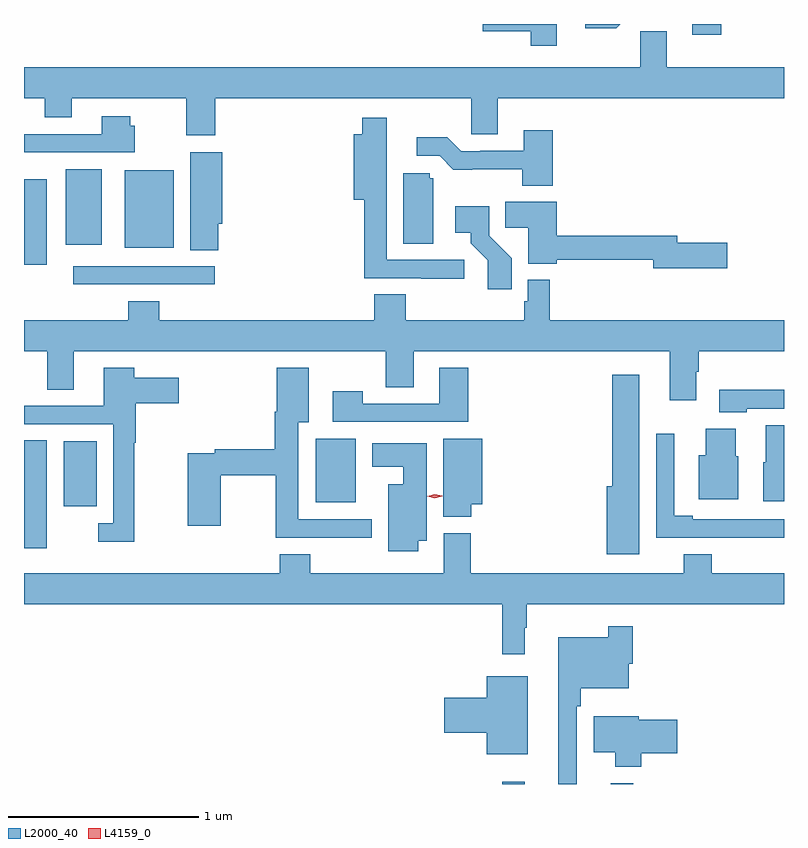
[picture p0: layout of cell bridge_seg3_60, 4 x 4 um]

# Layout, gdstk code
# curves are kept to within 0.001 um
import gdstk
lib = gdstk.Library(unit=1e-6, precision=1e-09)
def R(c, l, rs):  # rectangles x0, y0, x1, y1
    for r in rs: c.add(gdstk.rectangle(r[:2], r[2:], *l))
def P(c, l, *ps):  # polygons
    for p in ps: c.add(gdstk.Polygon(p, *l))
L2000_40 = (2000, 40)
L4159_0 = (4159, 0)

bridge_seg3_60 = lib.new_cell('bridge_seg3_60')
R(bridge_seg3_60, L2000_40, [(577.249,678.659,577.367,678.67), (577.82,678.659,577.937,678.664), (574.731,679.899,574.852,680.468), (574.94,680.12,575.113,680.464), (576.266,680.141,576.478,680.476), (574.989,681.288,575.734,681.384), (574.731,681.393,574.852,681.841), (575.261,681.482,575.518,681.889), (574.952,681.497,575.14,681.895), (578.249,682.602,578.402,682.659)])
P(bridge_seg3_60, L2000_40, [(577.534,682.659),(577.146,682.659),(577.146,682.622),(577.398,682.622),(577.398,682.544),(577.534,682.544)],
  [(577.869,682.659),(577.686,682.659),(577.686,682.637),(577.847,682.637)],
  [(575.738,682.268),(577.086,682.268),(577.086,682.078),(577.225,682.078),(577.225,682.268),(578.731,682.268),(578.731,682.432),(578.113,682.432),(578.113,682.622),(577.974,682.622),(577.974,682.432),(574.731,682.432),(574.731,682.268),(574.841,682.268),(574.841,682.169),(574.981,682.169),(574.981,682.268),(575.585,682.268),(575.585,682.074),(575.738,682.074)],
  [(575.314,682.123),(575.289,682.123),(575.289,682.174),(575.141,682.174),(575.141,682.08),(574.731,682.08),(574.731,681.984),(575.314,681.984)],
  [(577.048,681.417),(576.639,681.417),(576.639,682.165),(576.51,682.165),(576.51,682.078),(576.467,682.078),(576.467,681.734),(576.523,681.734),(576.523,681.321),(576.823,681.321),(576.823,681.319),(577.048,681.319)],
  [(577.514,682.099),(577.361,682.099),(577.361,681.993),(577.132,681.993),(577.132,681.99),(577.032,681.99),(576.959,682.063),(576.798,682.063),(576.798,681.966),(576.918,681.966),(576.991,681.893),(577.354,681.894),(577.354,681.809),(577.514,681.809)],
  [(575.753,681.609),(575.774,681.609),(575.774,681.985),(575.606,681.985),(575.606,681.469),(575.753,681.469)],
  [(576.886,681.846),(576.867,681.846),(576.867,681.873),(576.728,681.873),(576.728,681.502),(576.886,681.502)],
  [(578.431,681.509),(578.17,681.509),(578.17,681.545),(577.535,681.545),(577.535,681.724),(577.264,681.724),(577.264,681.586),(577.385,681.586),(577.385,681.398),(577.535,681.398),(577.535,681.417),(578.042,681.417),(578.042,681.374),(578.431,681.374)],
  [(577.298,681.426),(577.179,681.545),(577.179,681.7),(577.002,681.7),(577.002,681.56),(577.082,681.56),(577.082,681.505),(577.173,681.415),(577.173,681.264),(577.298,681.264)],
  [(578.269,680.83),(578.282,680.83),(578.282,680.936),(578.731,680.936),(578.731,681.1),(577.499,681.1),(577.499,681.313),(577.383,681.313),(577.383,681.201),(577.363,681.201),(577.363,681.1),(576.74,681.1),(576.74,681.236),(576.575,681.236),(576.575,681.1),(575.444,681.1),(575.444,681.199),(575.279,681.199),(575.279,681.1),(574.731,681.1),(574.731,680.936),(574.853,680.936),(574.853,680.734),(574.993,680.734),(574.993,680.936),(576.634,680.936),(576.634,680.746),(576.781,680.746),(576.781,680.936),(578.129,680.936),(578.129,680.679),(578.269,680.679)],
  [(575.311,680.456),(575.318,680.456),(575.318,680.663),(575.545,680.663),(575.545,680.797),(575.312,680.797),(575.312,680.851),(575.15,680.851),(575.15,680.649),(574.731,680.649),(574.731,680.553),(575.202,680.553),(575.202,680.031),(575.121,680.031),(575.121,679.934),(575.311,679.934)],
  [(576.562,680.052),(576.175,680.052),(576.175,680.564),(576.229,680.564),(576.229,680.851),(576.062,680.851),(576.062,680.618),(576.05,680.618),(576.05,680.42),(575.734,680.42),(575.734,680.4),(575.593,680.4),(575.593,680.019),(575.766,680.019),(575.766,680.284),(576.055,680.284),(576.055,679.955),(576.562,679.955)],
  [(577.07,680.851),(576.917,680.851),(576.917,680.661),(576.513,680.661),(576.513,680.725),(576.357,680.725),(576.357,680.565),(577.07,680.565)],
  [(577.969,680.812),(577.826,680.812),(577.826,680.226),(577.799,680.226),(577.799,679.868),(577.969,679.868)],
  [(578.535,680.633),(578.731,680.633),(578.731,680.734),(578.391,680.734),(578.391,680.615),(578.535,680.615)],
  [(578.731,680.548),(578.636,680.548),(578.636,680.352),(578.621,680.352),(578.621,680.147),(578.731,680.147)],
  [(578.491,680.385),(578.476,680.385),(578.476,680.53),(578.318,680.53),(578.318,680.389),(578.282,680.389),(578.282,680.159),(578.491,680.159)],
  [(578.731,680.052),(578.251,680.052),(578.251,680.072),(578.154,680.072),(578.154,680.503),(578.058,680.503),(578.058,679.956),(578.44,679.956),(578.44,679.955),(578.731,679.955)],
  [(577.085,680.132),(577.144,680.132),(577.144,680.476),(576.938,680.476),(576.938,680.065),(577.085,680.065)],
  [(576.805,679.94),(576.85,679.94),(576.85,680.452),(576.563,680.452),(576.563,680.33),(576.728,680.33),(576.728,680.236),(576.647,680.236),(576.647,679.884),(576.805,679.884)],
  [(577.366,679.481),(577.378,679.481),(577.378,679.604),(578.731,679.604),(578.731,679.768),(578.352,679.768),(578.352,679.867),(578.204,679.867),(578.204,679.768),(577.082,679.768),(577.082,679.98),(576.941,679.98),(576.941,679.768),(576.237,679.768),(576.237,679.867),(576.077,679.867),(576.077,679.768),(574.731,679.768),(574.731,679.604),(577.249,679.604),(577.249,679.341),(577.366,679.341)],
  [(577.641,679.067),(577.661,679.067),(577.661,679.163),(577.915,679.163),(577.915,679.293),(577.934,679.293),(577.934,679.489),(577.806,679.489),(577.806,679.432),(577.544,679.432),(577.544,678.659),(577.641,678.659)],
  [(577.381,679.225),(577.166,679.225),(577.166,679.112),(576.942,679.112),(576.942,678.929),(577.166,678.929),(577.166,678.815),(577.381,678.815)],
  [(577.979,678.82),(578.17,678.82),(578.17,678.998),(577.966,678.998),(577.966,679.015),(577.73,679.015),(577.73,678.827),(577.844,678.827),(577.844,678.749),(577.979,678.749)])
P(bridge_seg3_60, L4159_0, [(576.894,680.164),(576.854,680.174),(576.854,680.174),(576.854,680.174),(576.894,680.184),(576.933,680.175),(576.933,680.175),(576.933,680.174)])

lib.write_gds('bridge_seg3_60.gds')
